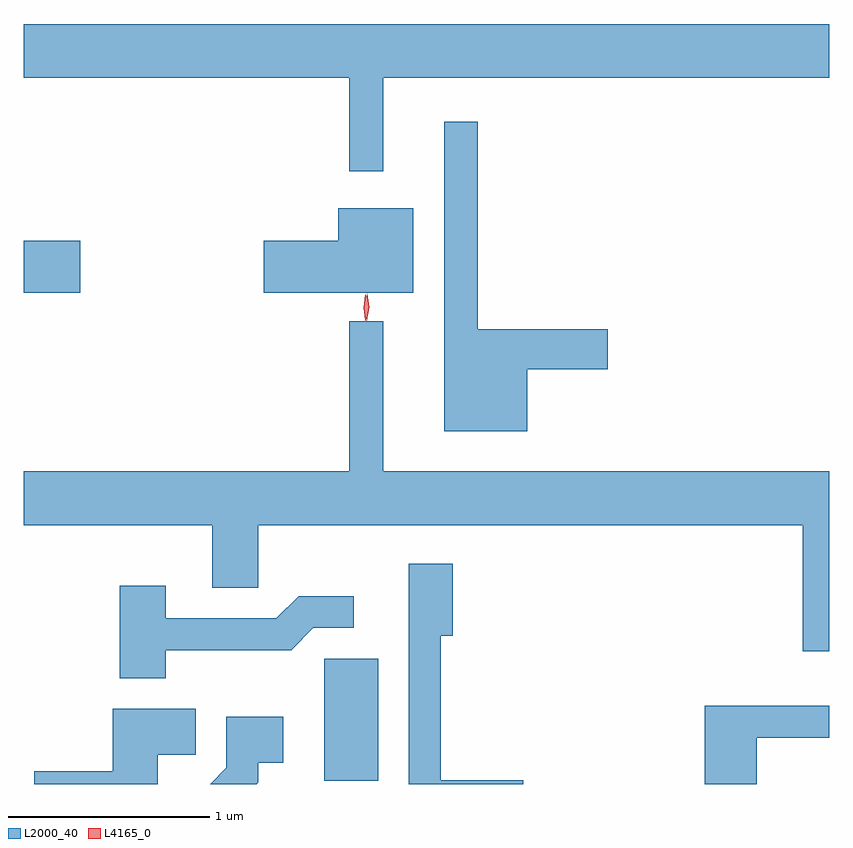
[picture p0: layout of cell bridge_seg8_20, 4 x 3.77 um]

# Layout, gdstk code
import gdstk
lib = gdstk.Library(unit=1e-6, precision=1e-09)
def R(c, l, rs):  # rectangles x0, y0, x1, y1
    for r in rs: c.add(gdstk.rectangle(r[:2], r[2:], *l))
def P(c, l, *ps):  # polygons
    for p in ps: c.add(gdstk.Polygon(p, *l))
L2000_40 = (2000, 40)
L4165_0 = (4165, 0)

bridge_seg8_20 = lib.new_cell('bridge_seg8_20')
R(bridge_seg8_20, L2000_40, [(1747.766,1926.166,1748.034,1926.774), (1746.274,1928.591,1746.554,1928.849)])
P(bridge_seg8_20, L2000_40, [(1748.059,1929.656),(1750.274,1929.656),(1750.274,1929.924),(1746.274,1929.924),(1746.274,1929.656),(1747.891,1929.656),(1747.891,1929.193),(1748.059,1929.193)],
  [(1748.774,1928.211),(1749.174,1928.211),(1749.174,1928.409),(1748.529,1928.409),(1748.529,1929.438),(1748.361,1929.438),(1748.361,1927.901),(1748.774,1927.901)],
  [(1748.209,1929.009),(1747.836,1929.009),(1747.836,1928.849),(1747.466,1928.849),(1747.466,1928.591),(1748.209,1928.591)],
  [(1750.274,1927.704),(1748.059,1927.704),(1748.059,1928.448),(1747.891,1928.448),(1747.891,1927.704),(1746.274,1927.704),(1746.274,1927.436),(1747.211,1927.436),(1747.211,1927.126),(1747.439,1927.126),(1747.439,1927.436),(1750.141,1927.436),(1750.141,1926.811),(1750.274,1926.811)],
  [(1748.754,1926.169),(1748.344,1926.169),(1748.344,1926.886),(1748.404,1926.886),(1748.404,1927.244),(1748.186,1927.244),(1748.186,1926.151),(1748.754,1926.151)],
  [(1746.979,1926.816),(1747.602,1926.816),(1747.712,1926.926),(1747.913,1926.926),(1747.913,1927.084),(1747.639,1927.084),(1747.529,1926.974),(1746.979,1926.974),(1746.979,1927.134),(1746.751,1927.134),(1746.751,1926.676),(1746.979,1926.676)],
  [(1749.914,1926.381),(1750.274,1926.381),(1750.274,1926.539),(1749.656,1926.539),(1749.656,1926.151),(1749.914,1926.151)],
  [(1746.939,1926.296),(1747.129,1926.296),(1747.129,1926.524),(1746.716,1926.524),(1746.716,1926.214),(1746.326,1926.214),(1746.326,1926.151),(1746.939,1926.151)],
  [(1747.439,1926.159),(1747.439,1926.256),(1747.564,1926.256),(1747.564,1926.484),(1747.281,1926.484),(1747.281,1926.232),(1747.2,1926.151),(1747.431,1926.151)])
P(bridge_seg8_20, L4165_0, [(1747.977,1928.45),(1747.969,1928.518),(1747.979,1928.586),(1747.98,1928.586),(1747.98,1928.586),(1747.989,1928.518),(1747.978,1928.45),(1747.978,1928.45)],
  [(1747.971,1928.453),(1747.962,1928.516),(1747.971,1928.579),(1747.972,1928.58),(1747.972,1928.579),(1747.982,1928.516),(1747.972,1928.453),(1747.972,1928.453)])

lib.write_gds('bridge_seg8_20.gds')
